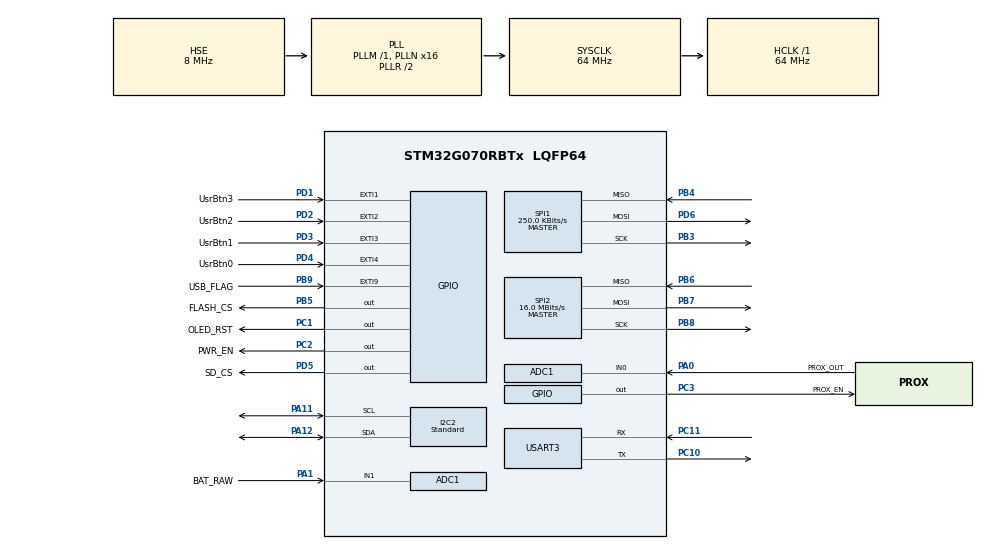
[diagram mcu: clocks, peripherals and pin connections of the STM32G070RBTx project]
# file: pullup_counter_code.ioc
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ADC1.Channel-0\#ChannelRegularConversion=ADC_CHANNEL_0
ADC1.Channel-1\#ChannelRegularConversion=ADC_CHANNEL_1
ADC1.Channel-2\#ChannelRegularConversion=ADC_CHANNEL_VBAT
ADC1.ContinuousConvMode=ENABLE
ADC1.DMAContinuousRequests=ENABLE
ADC1.EOCSelection=ADC_EOC_SEQ_CONV
ADC1.NbrOfConversion=3
ADC1.NbrOfConversionFlag=1
ADC1.OversamplingMode=DISABLE
ADC1.Rank-0\#ChannelRegularConversion=1
ADC1.Rank-1\#ChannelRegularConversion=2
ADC1.Rank-2\#ChannelRegularConversion=3
ADC1.SamplingTime-0\#ChannelRegularConversion=ADC_SAMPLINGTIME_COMMON_1
ADC1.SamplingTime-1\#ChannelRegularConversion=ADC_SAMPLINGTIME_COMMON_1
ADC1.SamplingTime-2\#ChannelRegularConversion=ADC_SAMPLINGTIME_COMMON_1
ADC1.SamplingTimeCommon1=ADC_SAMPLETIME_160CYCLES_5
ADC1.SamplingTimeCommon2=ADC_SAMPLETIME_1CYCLE_5
ADC1.SelectedChannel=ADC_CHANNEL_0|ADC_CHANNEL_1|ADC_CHANNEL_VBAT
ADC1.master=1
Dma.ADC1.1.Direction=DMA_PERIPH_TO_MEMORY
Dma.ADC1.1.EventEnable=DISABLE
Dma.ADC1.1.Instance=DMA1_Channel2
Dma.ADC1.1.MemDataAlignment=DMA_MDATAALIGN_WORD
Dma.ADC1.1.MemInc=DMA_MINC_ENABLE
Dma.ADC1.1.Mode=DMA_CIRCULAR
Dma.ADC1.1.PeriphDataAlignment=DMA_PDATAALIGN_WORD
Dma.ADC1.1.PeriphInc=DMA_PINC_DISABLE
Dma.ADC1.1.Polarity=HAL_DMAMUX_REQ_GEN_RISING
Dma.ADC1.1.Priority=DMA_PRIORITY_LOW
Dma.ADC1.1.RequestNumber=1
Dma.ADC1.1.SignalID=NONE
Dma.ADC1.1.SyncEnable=DISABLE
Dma.ADC1.1.SyncPolarity=HAL_DMAMUX_SYNC_NO_EVENT
Dma.ADC1.1.SyncRequestNumber=1
Dma.ADC1.1.SyncSignalID=NONE
Dma.I2C2_TX.0.Direction=DMA_MEMORY_TO_PERIPH
Dma.I2C2_TX.0.EventEnable=DISABLE
Dma.I2C2_TX.0.Instance=DMA1_Channel1
Dma.I2C2_TX.0.MemDataAlignment=DMA_MDATAALIGN_BYTE
Dma.I2C2_TX.0.MemInc=DMA_MINC_ENABLE
Dma.I2C2_TX.0.Mode=DMA_NORMAL
Dma.I2C2_TX.0.PeriphDataAlignment=DMA_PDATAALIGN_BYTE
Dma.I2C2_TX.0.PeriphInc=DMA_PINC_DISABLE
Dma.I2C2_TX.0.Polarity=HAL_DMAMUX_REQ_GEN_RISING
Dma.I2C2_TX.0.Priority=DMA_PRIORITY_LOW
Dma.I2C2_TX.0.RequestNumber=1
Dma.I2C2_TX.0.SignalID=NONE
Dma.I2C2_TX.0.SyncEnable=DISABLE
Dma.I2C2_TX.0.SyncPolarity=HAL_DMAMUX_SYNC_NO_EVENT
Dma.I2C2_TX.0.SyncRequestNumber=1
Dma.I2C2_TX.0.SyncSignalID=NONE
Dma.Request0=I2C2_TX
Dma.Request1=ADC1
I2C2.CustomTiming=Disabled
I2C2.I2C_Speed_Mode=I2C_Standard
I2C2.Timing=0x10707DBC
Mcu.Family=STM32G0
Mcu.Name=STM32G070RBTx
Mcu.Package=LQFP64
NVIC.DMA1_Channel1_IRQn=true\:0\:0\:false\:false\:true\:false\:true\:true
NVIC.DMA1_Channel2_3_IRQn=true\:0\:0\:false\:false\:true\:false\:true\:true
NVIC.EXTI0_1_IRQn=true\:0\:0\:false\:false\:true\:true\:true\:true
NVIC.EXTI2_3_IRQn=true\:0\:0\:false\:false\:true\:true\:true\:true
NVIC.EXTI4_15_IRQn=true\:0\:0\:false\:false\:true\:true\:true\:true
NVIC.I2C2_IRQn=true\:0\:0\:false\:false\:true\:true\:true\:true
NVIC.TIM6_IRQn=true\:0\:0\:false\:false\:true\:true\:true\:true
NVIC.USART3_4_IRQn=true\:0\:0\:false\:false\:true\:true\:true\:true
PA0.GPIO_Label=PROX_OUT
PA0.Mode=IN0
PA0.Signal=ADC1_IN0
PA1.GPIO_Label=BAT_RAW
PA1.Mode=IN1
PA1.Signal=ADC1_IN1
PA11\ [PA9].GPIO_Pu=GPIO_PULLUP
PA11\ [PA9].GPIO_Speed=GPIO_SPEED_FREQ_LOW
PA11\ [PA9].Mode=I2C
PA11\ [PA9].Signal=I2C2_SCL
PA12\ [PA10].GPIO_Pu=GPIO_PULLUP
PA12\ [PA10].GPIO_Speed=GPIO_SPEED_FREQ_LOW
PA12\ [PA10].Mode=I2C
PA12\ [PA10].Signal=I2C2_SDA
PA13.Mode=Serial_Wire
PA13.Signal=SYS_SWDIO
PA14-BOOT0.Mode=Serial_Wire
PA14-BOOT0.Signal=SYS_SWCLK
PB3.Mode=Full_Duplex_Master
PB3.Signal=SPI1_SCK
PB4.Mode=Full_Duplex_Master
PB4.Signal=SPI1_MISO
PB5.GPIO_Label=FLASH_CS
PB5.Signal=GPIO_Output
PB6.Mode=Full_Duplex_Master
PB6.Signal=SPI2_MISO
PB7.Mode=Full_Duplex_Master
PB7.Signal=SPI2_MOSI
PB8.Mode=Full_Duplex_Master
PB8.Signal=SPI2_SCK
PB9.GPIO_Label=USB_FLAG
PB9.Signal=GPXTI9
PC1.GPIO_Label=OLED_RST
PC1.PinState=GPIO_PIN_SET
PC1.Signal=GPIO_Output
PC10.Mode=Asynchronous
PC10.Signal=USART3_TX
PC11.Mode=Asynchronous
PC11.Signal=USART3_RX
PC2.GPIO_Label=PWR_EN
PC2.GPIO_ModeDefaultOutputPP=GPIO_MODE_OUTPUT_OD
PC2.GPIO_PuPd=GPIO_NOPULL
PC2.PinState=GPIO_PIN_SET
PC2.Signal=GPIO_Output
PC3.GPIO_Label=PROX_EN
PC3.Signal=GPIO_Output
PD1.GPIO_Label=UsrBtn3
PD1.GPIO_ModeDefaultEXTI=GPIO_MODE_IT_FALLING
PD1.GPIO_PuPd=GPIO_PULLUP
PD1.Signal=GPXTI1
PD2.GPIO_Label=UsrBtn2
PD2.GPIO_ModeDefaultEXTI=GPIO_MODE_IT_FALLING
PD2.GPIO_PuPd=GPIO_PULLUP
PD2.Signal=GPXTI2
PD3.GPIO_Label=UsrBtn1
PD3.GPIO_ModeDefaultEXTI=GPIO_MODE_IT_FALLING
PD3.GPIO_PuPd=GPIO_PULLUP
PD3.Signal=GPXTI3
PD4.GPIO_Label=UsrBtn0
PD4.GPIO_ModeDefaultEXTI=GPIO_MODE_IT_FALLING
PD4.GPIO_PuPd=GPIO_PULLUP
PD4.Signal=GPXTI4
PD5.GPIO_Label=SD_CS
PD5.Signal=GPIO_Output
PD6.Mode=Full_Duplex_Master
PD6.Signal=SPI1_MOSI
PF0-OSC_IN\ (PF0).Mode=HSE-External-Oscillator
PF0-OSC_IN\ (PF0).Signal=RCC_OSC_IN
PF1-OSC_OUT\ (PF1).Mode=HSE-External-Oscillator
PF1-OSC_OUT\ (PF1).Signal=RCC_OSC_OUT
ProjectManager.HeapSize=0x200
ProjectManager.StackSize=0x400
ProjectManager.TargetToolchain=Makefile
RCC.ADCFreq_Value=64000000
RCC.AHBFreq_Value=64000000
RCC.CortexFreq_Value=64000000
RCC.EXTERNAL_CLOCK_VALUE=48000
RCC.HCLKFreq_Value=64000000
RCC.HSE_VALUE=8000000
RCC.HSI_VALUE=16000000
RCC.LSE_VALUE=32768
RCC.PLLN=16
RCC.PLLSourceVirtual=RCC_PLLSOURCE_HSE
RCC.RTCClockSelection=RCC_RTCCLKSOURCE_HSE_DIV32
RCC.SYSCLKFreq_VALUE=64000000
RCC.SYSCLKSource=RCC_SYSCLKSOURCE_PLLCLK
RCC.VCOOutputFreq_Value=128000000
SPI1.BaudRatePrescaler=SPI_BAUDRATEPRESCALER_256
SPI1.CalculateBaudRate=250.0 KBits/s
SPI1.DataSize=SPI_DATASIZE_8BIT
SPI1.Direction=SPI_DIRECTION_2LINES
SPI1.Mode=SPI_MODE_MASTER
SPI1.VirtualType=VM_MASTER
SPI2.BaudRatePrescaler=SPI_BAUDRATEPRESCALER_4
SPI2.CalculateBaudRate=16.0 MBits/s
SPI2.DataSize=SPI_DATASIZE_8BIT
SPI2.Direction=SPI_DIRECTION_2LINES
SPI2.Mode=SPI_MODE_MASTER
SPI2.VirtualType=VM_MASTER
TIM6.Period=150-1
TIM6.Prescaler=64000-1
USART3.VirtualMode-Asynchronous=VM_ASYNC
VP_ADC1_Vbat_Input.Mode=IN-Vbat
VP_FATFS_VS_Generic.Mode=User_defined
VP_RTC_VS_RTC_Activate.Mode=RTC_Enabled
VP_RTC_VS_RTC_Calendar.Mode=RTC_Calendar
VP_SYS_VS_DBSignals.Mode=DisableDeadBatterySignals
VP_TIM6_VS_ClockSourceINT.Mode=Enable_Timer
board=custom

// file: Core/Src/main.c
/* USER CODE BEGIN Header */
/**
  ******************************************************************************
  * @file           : main.c
  * @brief          : Main program body
  ******************************************************************************
  * @attention
  *
  * Copyright (c) 2023 STMicroelectronics.
  * All rights reserved.
  *
  * This software is licensed under terms that can be found in the LICENSE file
  * in the root directory of this software component.
  * If no LICENSE file comes with this software, it is provided AS-IS.
  *
  ******************************************************************************
  */
/* USER CODE END Header */
#include "main.h"
#include "adc.h"
#include "dma.h"
#include "app_fatfs.h"
#include "i2c.h"
#include "rtc.h"
#include "spi.h"
#include "tim.h"
#include "usart.h"
#include "gpio.h"

/* USER CODE BEGIN Includes */
#include <string.h>
#include <stdbool.h>
#include <stdio.h>

#include "display.h"
#include "cli.h"
#include "entry.h"
#include "settings.h"
#include "config.h"
#include "flash.h"
#include "w25qxx.h"
#include "ssd1306.h"
/* USER CODE END Includes */

void SystemClock_Config(void);
/* USER CODE BEGIN PFP */
void programmingRoutine();
uint32_t measurePullupTime();
void SD_Update();
/* USER CODE END PFP */

int main(void)
{

  /* MCU Configuration--------------------------------------------------------*/

  /* Reset of all peripherals, Initializes the Flash interface and the Systick. */
  HAL_Init();

  /* Configure the system clock */
  SystemClock_Config();

  /* Initialize all configured peripherals */
  MX_GPIO_Init();
  MX_DMA_Init();
  MX_ADC1_Init();
  MX_I2C2_Init();
  MX_RTC_Init();
  MX_SPI1_Init();
  MX_SPI2_Init();
  MX_USART3_UART_Init();
  if (MX_FATFS_Init() != APP_OK) {
    Error_Handler();
  }
  MX_TIM6_Init();
  /* USER CODE BEGIN 2 */
  printf("Board Init\n\r");
  uint32_t timStart;

  timStart = HAL_GetTick();
  ADC_Init();
  printf("ADC_Init - %lums\n\r", HAL_GetTick()-timStart);

  timStart = HAL_GetTick();
  FLASH_Init();
  printf("Flash_init - %lums\n\r", HAL_GetTick()-timStart);

  timStart = HAL_GetTick();
  DISPLAY_Init();
  printf("Display_init - %lums\n\r", HAL_GetTick()-timStart);

  timStart = HAL_GetTick();
  FLASH_SettingsRead(&settings);
  FLASH_VarsRead(&eepromVars);
  printf("eeprom read - %lums\n\r", HAL_GetTick()-timStart);

  #ifdef PROGRAM_ROUTINE
  programmingRoutine();
  #endif

  // check battery voltage and warn of low voltage
  if(ADC_MeasureBattery() < settings.batteryVoltageThreshold){
    Display_SetMode(DispLowVoltage);
    // HAL_Delay(3000);
  }

  HAL_Delay(20);
  ADC_DistanceCalibrate();
  printf("Booting time = %lums\n\r", HAL_GetTick());

  ADC_PROX_ON();
  printf("Proximity sensor on\n");
  while(1){
    printf("%li\n", ADC_MeasureDistance());
    HAL_Delay(100);
  }
  /* USER CODE END 2 */

  /* Infinite loop */
  /* USER CODE BEGIN WHILE */

  uint8_t currentCount = 0;
  RTC_ReadTime();
  entry_t lastEntry;
  FLASH_EntryRead(&lastEntry, eepromVars.lastDdr);
  if(lastEntry.day != sDate.Date || lastEntry.month != sDate.Month || lastEntry.year != sDate.Year){
      eepromVars.pullup_counter = 0;
  }
  Display_SetMode(DispCounting);
  // count pull-ups loop
  uint32_t lastDetectedPullup = HAL_GetTick();
  // while(HAL_GetTick()-lastDetectedPullup < settings.timeTillShutdown){
  while(1) {
    if(flags.SD_Update)
      break;
    uint32_t timeDelta = measurePullupTime();
    if(settings.pullupTimeMin < timeDelta && timeDelta < settings.pullupTimeMax){
      lastDetectedPullup = HAL_GetTick();
      currentCount++;
      eepromVars.pullup_counter++;
    }
    if(task != task_normalOperation){
      break;
    }
  }
  ADC_PROX_OFF();

  if(currentCount != 0){

    uint32_t id = eepromVars.lastDdr;
    entry_t entry;
    entry.id = id;
    entry.count = currentCount;

    entry.year = sDate.Year;
    entry.month = sDate.Month;
    entry.day = sDate.Date;

    entry.hour = sTime.Hours;
    entry.minute = sTime.Minutes;
    eepromVars.lastDdr++;

    FLASH_EntryWrite(&entry, eepromVars.lastDdr);
    entry_t entryRead;
    FLASH_EntryRead(&entryRead, eepromVars.lastDdr);
    if(!ENTRY_IsEqual(&entry, &entryRead)){
      Display_SetMode(DispError);
    }
  }

  FLASH_VarsWrite(&eepromVars);
  FLASH_SettingsWrite(&settings);

  if(task == task_SD_Update){
    Display_SetMode(DispSD);
    SD_Update();
  }
  if(task == task_USB_handler){
    Display_SetMode(DispUSB);
    CLI_StartUserInterface();
  }

  #ifdef SLEEP_ENABLE
  HAL_SuspendTick();
  HAL_PWR_EnterSTOPMode(PWR_LOWPOWERREGULATOR_ON, PWR_STOPENTRY_WFI);
  #endif

  #ifdef SHUTDOWN_ENABLE
  HAL_GPIO_WritePin(PWR_EN_GPIO_Port, PWR_EN_Pin, 0);
  #endif

  while (1)
  {
    /* USER CODE END WHILE */

  }
}

void SystemClock_Config(void)
{
  RCC_OscInitTypeDef RCC_OscInitStruct = {0};
  RCC_ClkInitTypeDef RCC_ClkInitStruct = {0};

  /** Configure the main internal regulator output voltage
  */
  HAL_PWREx_ControlVoltageScaling(PWR_REGULATOR_VOLTAGE_SCALE1);

  /** Initializes the RCC Oscillators according to the specified parameters
  * in the RCC_OscInitTypeDef structure.
  */
  RCC_OscInitStruct.OscillatorType = RCC_OSCILLATORTYPE_HSE;
  RCC_OscInitStruct.HSEState = RCC_HSE_ON;
  RCC_OscInitStruct.PLL.PLLState = RCC_PLL_ON;
  RCC_OscInitStruct.PLL.PLLSource = RCC_PLLSOURCE_HSE;
  RCC_OscInitStruct.PLL.PLLM = RCC_PLLM_DIV1;
  RCC_OscInitStruct.PLL.PLLN = 16;
  RCC_OscInitStruct.PLL.PLLP = RCC_PLLP_DIV2;
  RCC_OscInitStruct.PLL.PLLR = RCC_PLLR_DIV2;
  if (HAL_RCC_OscConfig(&RCC_OscInitStruct) != HAL_OK)
  {
    Error_Handler();
  }

  /** Initializes the CPU, AHB and APB buses clocks
  */
  RCC_ClkInitStruct.ClockType = RCC_CLOCKTYPE_HCLK|RCC_CLOCKTYPE_SYSCLK
                              |RCC_CLOCKTYPE_PCLK1;
  RCC_ClkInitStruct.SYSCLKSource = RCC_SYSCLKSOURCE_PLLCLK;
  RCC_ClkInitStruct.AHBCLKDivider = RCC_SYSCLK_DIV1;
  RCC_ClkInitStruct.APB1CLKDivider = RCC_HCLK_DIV1;

  if (HAL_RCC_ClockConfig(&RCC_ClkInitStruct, FLASH_LATENCY_2) != HAL_OK)
  {
    Error_Handler();
  }
}

/* USER CODE BEGIN 4 */

void programmingRoutine()
{
  #ifdef SET_RTC
    RTC_SetCurrentTime();
  #endif

  #ifdef ERASE_FLASH
    W25qxx_EraseChip();
  #endif

  #ifdef RESET_SETTINGS
    settings.distanceThreshold = -250;
    settings.pullupTimeMax = 2000;
    settings.pullupTimeMin = 300;
    settings.timeTillShutdown = 7000;
    settings.batteryVoltageThreshold = 2650;
  #endif

  #ifdef RESET_EEPROM
    eepromVars.lastDdr = 0;
    eepromVars.pullup_counter = 0;
  #endif

}

uint32_t measurePullupTime()
{
  uint32_t pullupStart = HAL_GetTick();
  while(ADC_MeasureDistance() < settings.distanceThreshold);
  uint32_t pullupEnd = HAL_GetTick();
  uint32_t timeDelta = pullupEnd - pullupStart;
  return timeDelta;
}

void SD_Update()
{
  FATFS FatFs;  //Fatfs handle
  FIL fil;  //File handle
  FRESULT fres; //Result after operations
  uint32_t startingID; // starting id
  const char fileName[] = "pullup_data.csv";
  char buffer[128];
  unsigned int br; // number of bytes actualy read from f_read()
  entry_t entry;

  fres = f_mount(&FatFs, "", 1); //1=mount now

  fres = f_open(&fil, fileName, FA_READ|FA_OPEN_EXISTING);
  switch (fres)
  {
  case FR_OK:
    while(1){ //seek last entry
      f_gets(buffer, 128, &fil);
      if(f_eof(&fil)){
        break;
      }
    }
    ENTRY_CreateFromString(&entry, buffer);
    startingID = entry.id;
    f_close(&fil);
    fres = f_open(&fil, fileName, FA_WRITE|FA_OPEN_APPEND);
    break;

  case FR_NO_FILE:
    startingID = 0;
    f_close(&fil);
    fres = f_open(&fil, fileName, FA_WRITE|FA_CREATE_NEW);
    f_puts(ENTRY_RawFormat, &fil);
    f_putc('\n', &fil);
    break;

  default:
    break;
  }

  uint32_t curID = startingID;
  while(curID < eepromVars.lastDdr){
    FLASH_EntryRead(&entry, curID);
    ENTRY_ToStrings(&entry, buffer);
    f_puts(buffer, &fil);
    f_putc('\n', &fil);
    SD_Done = (curID - startingID)*100/(eepromVars.lastDdr-startingID);
    curID++;
  }

  f_close(&fil);
}

/* USER CODE END 4 */

void Error_Handler(void)
{
  __disable_irq();
  while (1)
  {
  }
}
